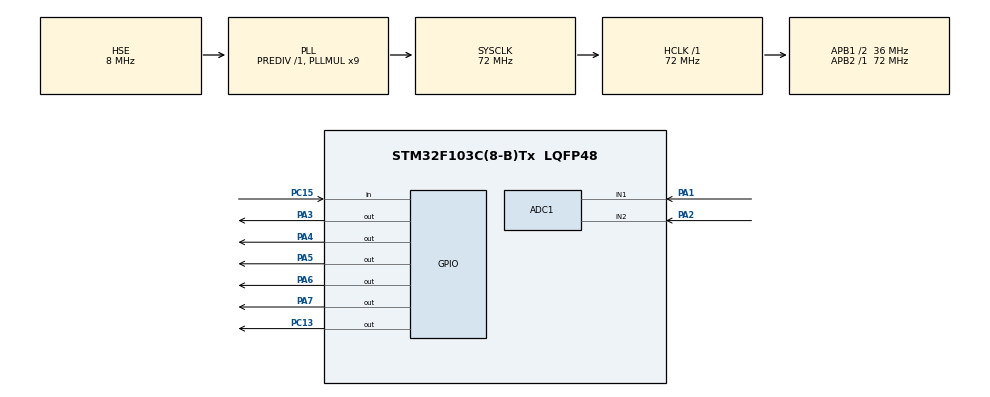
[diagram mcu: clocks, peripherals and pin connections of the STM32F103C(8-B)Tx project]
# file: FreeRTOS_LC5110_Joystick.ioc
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ADC1.Channel-5\#ChannelRegularConversion=ADC_CHANNEL_1
ADC1.Channel-6\#ChannelRegularConversion=ADC_CHANNEL_2
ADC1.ContinuousConvMode=ENABLE
ADC1.NbrOfConversion=2
ADC1.NbrOfConversionFlag=1
ADC1.Rank-5\#ChannelRegularConversion=1
ADC1.Rank-6\#ChannelRegularConversion=2
ADC1.SamplingTime-5\#ChannelRegularConversion=ADC_SAMPLETIME_239CYCLES_5
ADC1.SamplingTime-6\#ChannelRegularConversion=ADC_SAMPLETIME_239CYCLES_5
ADC1.master=1
Dma.ADC1.0.Direction=DMA_PERIPH_TO_MEMORY
Dma.ADC1.0.Instance=DMA1_Channel1
Dma.ADC1.0.MemDataAlignment=DMA_MDATAALIGN_WORD
Dma.ADC1.0.MemInc=DMA_MINC_ENABLE
Dma.ADC1.0.Mode=DMA_CIRCULAR
Dma.ADC1.0.PeriphDataAlignment=DMA_PDATAALIGN_WORD
Dma.ADC1.0.PeriphInc=DMA_PINC_DISABLE
Dma.ADC1.0.Priority=DMA_PRIORITY_LOW
Dma.Request0=ADC1
FREERTOS.Tasks01=defaultTask,0,128,StartDefaultTask,Default,NULL
FREERTOS.configMAX_TASK_NAME_LEN=30
Mcu.Family=STM32F1
Mcu.Name=STM32F103C(8-B)Tx
Mcu.Package=LQFP48
NVIC.ADC1_2_IRQn=true\:5\:0\:false\:false\:true\:true\:true
NVIC.DMA1_Channel1_IRQn=true\:5\:0\:false\:false\:true\:true\:false
NVIC.PriorityGroup=NVIC_PRIORITYGROUP_4
NVIC.TIM4_IRQn=true\:0\:0\:false\:false\:true\:false\:false
NVIC.TimeBase=TIM4_IRQn
NVIC.TimeBaseIP=TIM4
PA1.Signal=ADCx_IN1
PA13.Mode=Serial_Wire
PA13.Signal=SYS_JTMS-SWDIO
PA14.Mode=Serial_Wire
PA14.Signal=SYS_JTCK-SWCLK
PA2.Signal=ADCx_IN2
PA3.Signal=GPIO_Output
PA4.Signal=GPIO_Output
PA5.Signal=GPIO_Output
PA6.Signal=GPIO_Output
PA7.Signal=GPIO_Output
PC13-TAMPER-RTC.Signal=GPIO_Output
PC15-OSC32_OUT.GPIO_PuPd=GPIO_PULLUP
PC15-OSC32_OUT.Signal=GPIO_Input
PD0-OSC_IN.Mode=HSE-External-Oscillator
PD0-OSC_IN.Signal=RCC_OSC_IN
PD1-OSC_OUT.Mode=HSE-External-Oscillator
PD1-OSC_OUT.Signal=RCC_OSC_OUT
ProjectManager.HeapSize=0x200
ProjectManager.StackSize=0x400
ProjectManager.TargetToolchain=TrueSTUDIO
RCC.ADCPresc=RCC_ADCPCLK2_DIV6
RCC.AHBFreq_Value=72000000
RCC.APB1CLKDivider=RCC_HCLK_DIV2
RCC.APB1Freq_Value=36000000
RCC.APB1TimFreq_Value=72000000
RCC.APB2Freq_Value=72000000
RCC.APB2TimFreq_Value=72000000
RCC.HCLKFreq_Value=72000000
RCC.PLLMUL=RCC_PLL_MUL9
RCC.PLLSourceVirtual=RCC_PLLSOURCE_HSE
RCC.SYSCLKFreq_VALUE=72000000
RCC.SYSCLKSource=RCC_SYSCLKSOURCE_PLLCLK
RCC.USBFreq_Value=72000000
SH.ADCx_IN1.0=ADC1_IN1,IN1
SH.ADCx_IN2.0=ADC1_IN2,IN2
VP_FREERTOS_VS_ENABLE.Mode=Enabled
VP_SYS_VS_tim4.Mode=TIM4
board=FreeRTOS_LC5110_Joystick

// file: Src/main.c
#include "main.h"
#include "stm32f1xx_hal.h"
#include "cmsis_os.h"

/* USER CODE BEGIN Includes */
#include "atraso.h"
#include "defPrincipais.h"
#include "NOKIA5110_fb.h"
#include "figuras.h"
#include "PRNG_LFSR.h"
#include "happy_bird.h"

#define ADC_X valor_ADC[0]
#define ADC_Y valor_ADC[1]

#define IS_JOYSTICK_PUSHED() (!HAL_GPIO_ReadPin(GPIOC, GPIO_PIN_15))

/* USER CODE END Includes */

ADC_HandleTypeDef hadc1;
DMA_HandleTypeDef hdma_adc1;

//osThreadId defaultTaskHandle;

/* USER CODE BEGIN PV */
/* Private variables ---------------------------------------------------------*/
uint32_t ADC_buffer[2];
uint32_t valor_ADC[2];
TaskHandle_t taskHandlerJoystick;
/* USER CODE END PV */

void SystemClock_Config(void);
static void MX_GPIO_Init(void);
static void MX_DMA_Init(void);
static void MX_ADC1_Init(void);
//void StartDefaultTask(void const * argument);

/* USER CODE BEGIN PFP */
/* Private function prototypes -----------------------------------------------*/
/* USER CODE END PFP */

/* USER CODE BEGIN 0 */

void HAL_ADC_ConvCpltCallback(ADC_HandleTypeDef *hadc)
{
	if(hadc->Instance == ADC1)
	{
		valor_ADC[0]=ADC_buffer[0];
		valor_ADC[1]=ADC_buffer[1];
	}
}

// Tarefa para atualizar periodicamente o LCD
void vTask_LCD_Print(void *pvParameters)
{
	while(1) imprime_LCD();
}

/* read adc (joystick) and translate to position of the bird
 *
 * the draw of the bird should be independent (one task for it)
 * because we need to slow the movement of the joystick (ADC) by
 * delay
 * */

void vTask_bird(void *pvParameters)
{

	unsigned char moved = FALSE;

	while (1)
	{
		switch (hb_fsm) {
		case PLAYING:

			// first erase bird
			apaga_fig(&hb_bird_pts, bird);

			// X AXIS
			if (ADC_X < LOWER_BOUND && hb_bird_pts.x1 > 0) {
				hb_bird_pts.x1 -= hb_control.bird_step;
				moved = TRUE;
			}
			else if (ADC_X > UPPER_BOUND && hb_bird_pts.x1 < (MAX_X - bird->largura)) {
				hb_bird_pts.x1 += hb_control.bird_step;
				moved = TRUE;
			}

			// Y AXIS
			if (ADC_Y < LOWER_BOUND && hb_bird_pts.y1 > 0) {
				hb_bird_pts.y1 -= hb_control.bird_step;
				moved = TRUE;
			}
			else if (ADC_Y > UPPER_BOUND && hb_bird_pts.y1 < (MAX_Y - bird->altura)) {
				hb_bird_pts.y1 += hb_control.bird_step;
				moved = TRUE;
			}

			// draw bird
			desenha_fig(&hb_bird_pts, bird);

			if (moved) {
				vTaskDelay(50 / portTICK_RATE_MS);
			}
			else {
				vTaskDelay(16 / portTICK_RATE_MS);
			}

			break;

		case STARTING:
		case GAME_OVER:

			vTaskDelay(16 / portTICK_RATE_MS);
			break;

		}

	}
}

void vTask_game(void *pvParameters)
{
	uint32_t y_rand;
	uint32_t semente_PRNG=1;

	while (1)
	{
		switch (hb_fsm) {
		case STARTING:

			limpa_LCD();
			goto_XY(0, 0);
			string_LCD("Welcome to Happy Bird Game! Press the button to start.");

			while (!IS_JOYSTICK_PUSHED())
			{
				semente_PRNG++;		// semente para o gerador de n�meros pseudoaleatorios
									// pode ser empregado o ADC lendo uma entrada flutuante para gerar a semente.
			}

			init_LFSR(semente_PRNG);	// inicializacao para geracao de numeros pseudoaleatorios
			//rand_prng = prng_LFSR();	// sempre q a funcao prng() for chamada um novo nr � gerado.

			limpa_LCD();
			escreve2fb((unsigned char *)hb_opening);
			vTaskDelay(1000 / portTICK_RATE_MS);
			limpa_LCD();

			// initial positions

			y_rand = get_rand_y_obstacle();

			hb_control.row = 0;
			hb_control.obstacle_step = 1;
			hb_control.bird_step = 1;
			hb_control.gems_collected = 0;

			hb_obstacle_pts.x1 = MAX_X;
			obstacle_upper.x1 = hb_obstacle_pts.x1;
			obstacle_upper.x2 = hb_obstacle_pts.x1 + obstacle->largura;
			obstacle_upper.y1 = 0;
			obstacle_upper.y2 = y_rand;
			obstacle_lower.x1 = hb_obstacle_pts.x1;
			obstacle_lower.x2 = obstacle_upper.x2;
			obstacle_lower.y1 = y_rand + 1.5 * bird->altura;
			obstacle_lower.y2 = MAX_Y;

			hb_bird_pts.x1 = (MAX_X >> 1) - bird->largura;
			hb_bird_pts.y1 = (MAX_Y >> 1) - bird->altura;
			hb_bird_pts.x2 = 0;
			hb_bird_pts.y2 = 0;

			gem_pts.x1 = get_rand_x_gem();
			gem_pts.y1 = get_rand_y_gem();

			hb_fsm = PLAYING;

			break;

		case PLAYING:
			escreve_Nr_Peq(0, 0, hb_control.gems_collected, 0);

			// erase first obstacle (upper)
			apaga_fig(&obstacle_upper, obstacle);
			//apaga_retangulo_preenchido(&obstacle_upper);

			// erase second obstacle (lower)
			apaga_fig(&obstacle_lower, obstacle);
			//apaga_retangulo_preenchido(&obstacle_lower);

			// if obstacle reached left screen border
			if (hb_obstacle_pts.x1 <= 0) {
				hb_obstacle_pts.x1 = MAX_X;
				y_rand = get_rand_y_obstacle();
			}
			else {
				// keep moving
				hb_obstacle_pts.x1 -= hb_control.obstacle_step;
				// check overflow
				if (hb_obstacle_pts.x1 > (2 * MAX_X))
					hb_obstacle_pts.x1 = 0;
			}

			// first obstacle (upper)
			obstacle_upper.x1 = hb_obstacle_pts.x1;
			obstacle_upper.x2 = hb_obstacle_pts.x1 + obstacle->largura;
			obstacle_upper.y1 = 0;
			obstacle_upper.y2 = y_rand;
			desenha_fig(&obstacle_upper, obstacle);
			// second part (lower)
			obstacle_lower.x1 = hb_obstacle_pts.x1;
			obstacle_lower.x2 = obstacle_upper.x2;
			obstacle_lower.y1 = y_rand + 1.5 * bird->altura;
			obstacle_lower.y2 = MAX_Y;
			desenha_fig(&obstacle_lower, obstacle);

			desenha_fig(&gem_pts, gem);

			break;

		case GAME_OVER:
			limpa_LCD();
			goto_XY(0, 1);
			string_LCD("Game Over");
			goto_XY(0,2);

			uint32_t dec;
			if ((hb_control.gems_collected / 10) == 0)
				dec = 1;
			else if ((hb_control.gems_collected / 100) == 0)
				dec = 2;
			else
				dec = 3;

			string_LCD_Nr("Points: ", hb_control.gems_collected, dec);
			goto_XY(0,3);
			string_LCD("Play again?");
			goto_XY(0, 4);

			if (ADC_X > UPPER_BOUND)
				hb_control.play_again = false;
			else if (ADC_X < LOWER_BOUND)
				hb_control.play_again = true;

			if (hb_control.play_again)
				string_LCD("*YES* <->  no ");
			else
				string_LCD(" yes  <-> *NO*");

			if (IS_JOYSTICK_PUSHED()) {

				if (hb_control.play_again) {

					hb_fsm = STARTING;
				}
				else {
					limpa_LCD();
					goto_XY(0, 0);
					string_LCD("Bye Bye!");
					vTaskDelete(NULL); // itself
				}
			}

			break;

		}

		vTaskDelay(100 / portTICK_RATE_MS);
	}
}

void vTask_overlap(void *pvParameters)
{
	while (1) {
		switch (hb_fsm) {
		case PLAYING:

			// check if bird overlaps obstacles
			if (overlaps(&hb_bird_pts, bird, &obstacle_upper, obstacle) ||
				overlaps(&hb_bird_pts, bird, &obstacle_lower, obstacle)) {
				hb_fsm = GAME_OVER;
				break;
			}
			// check if bird overlaps gem
			else if (overlaps(&hb_bird_pts, bird, &gem_pts, gem)) {
				hb_control.gems_collected++;
				hb_control.row++;
				if (hb_control.row >= 5) {
					hb_control.row = 0;
					//hb_control.bird_step++;
					hb_control.obstacle_step++;
				}
				apaga_fig(&gem_pts, gem); // erase gem
				// new gem
				do {
					gem_pts.x1 = get_rand_x_gem();
					gem_pts.y1 = get_rand_y_gem();
				} while (overlaps(&gem_pts, gem, &obstacle_upper, obstacle) ||
						 overlaps(&gem_pts, gem, &obstacle_lower, obstacle) ||
						 overlaps(&gem_pts, gem, &hb_bird_pts, bird));
				desenha_fig(&gem_pts, gem);
			}

			// if obstacle overlaps gem
			while (overlaps(&gem_pts, gem, &obstacle_upper, obstacle) ||
				   overlaps(&gem_pts, gem, &obstacle_lower, obstacle)) {
				apaga_fig(&gem_pts, gem); // erase gem
				// new gem
				do {
					gem_pts.x1 = get_rand_x_gem();
					gem_pts.y1 = get_rand_y_gem();
				} while (overlaps(&gem_pts, gem, &obstacle_upper, obstacle) ||
						 overlaps(&gem_pts, gem, &obstacle_lower, obstacle) ||
						 overlaps(&gem_pts, gem, &hb_bird_pts, bird));
				desenha_fig(&gem_pts, gem);
			}

			break;

		case STARTING:
		case GAME_OVER:

			break;
		}

		vTaskDelay(10 / portTICK_RATE_MS);
	}
}
//---------------------------------------------------------------------------------------------------
/* USER CODE END 0 */

int main(void)
{

  /* MCU Configuration----------------------------------------------------------*/

  /* Reset of all peripherals, Initializes the Flash interface and the Systick. */
  HAL_Init();

  /* Configure the system clock */
  SystemClock_Config();

	/* Initialize all configured peripherals */
	MX_GPIO_Init();
	MX_DMA_Init();
	MX_ADC1_Init();

	/* USER CODE BEGIN 2 */

	HAL_ADC_Start_DMA(&hadc1,(uint32_t*)ADC_buffer,2);
	HAL_ADC_Start_IT(&hadc1);

	// inicializa LCD 5110
	inic_LCD();
	limpa_LCD();

	/* USER CODE END 2 */

	/* Create the thread(s) */
	/* definition and creation of defaultTask */
	// osThreadDef(defaultTask, StartDefaultTask, osPriorityNormal, 0, 128);
	// defaultTaskHandle = osThreadCreate(osThread(defaultTask), NULL);

	/* USER CODE BEGIN RTOS_THREADS */
	xTaskCreate(vTask_LCD_Print, "Task 1", 100, NULL, 1, NULL);
	xTaskCreate(vTask_bird, "vTask_bird", 100, NULL, 1, &taskHandlerJoystick);
	xTaskCreate(vTask_game, "Game", 100, NULL, 1, NULL);
	xTaskCreate(vTask_overlap, "Overlap", 100, NULL, 1, NULL);
	/* USER CODE END RTOS_THREADS */

	/* Start scheduler */
	// osKernelStart();
	vTaskStartScheduler();	// apos este comando o RTOS passa a executar as tarefas

  /* We should never get here as control is now taken by the scheduler */

  /* Infinite loop */
  while (1)
  {

  }

}

void SystemClock_Config(void)
{

  RCC_OscInitTypeDef RCC_OscInitStruct;
  RCC_ClkInitTypeDef RCC_ClkInitStruct;
  RCC_PeriphCLKInitTypeDef PeriphClkInit;

    /**Initializes the CPU, AHB and APB busses clocks
    */
  RCC_OscInitStruct.OscillatorType = RCC_OSCILLATORTYPE_HSE;
  RCC_OscInitStruct.HSEState = RCC_HSE_ON;
  RCC_OscInitStruct.HSEPredivValue = RCC_HSE_PREDIV_DIV1;
  RCC_OscInitStruct.HSIState = RCC_HSI_ON;
  RCC_OscInitStruct.PLL.PLLState = RCC_PLL_ON;
  RCC_OscInitStruct.PLL.PLLSource = RCC_PLLSOURCE_HSE;
  RCC_OscInitStruct.PLL.PLLMUL = RCC_PLL_MUL9;
  if (HAL_RCC_OscConfig(&RCC_OscInitStruct) != HAL_OK)
  {
    _Error_Handler(__FILE__, __LINE__);
  }

    /**Initializes the CPU, AHB and APB busses clocks
    */
  RCC_ClkInitStruct.ClockType = RCC_CLOCKTYPE_HCLK|RCC_CLOCKTYPE_SYSCLK
                              |RCC_CLOCKTYPE_PCLK1|RCC_CLOCKTYPE_PCLK2;
  RCC_ClkInitStruct.SYSCLKSource = RCC_SYSCLKSOURCE_PLLCLK;
  RCC_ClkInitStruct.AHBCLKDivider = RCC_SYSCLK_DIV1;
  RCC_ClkInitStruct.APB1CLKDivider = RCC_HCLK_DIV2;
  RCC_ClkInitStruct.APB2CLKDivider = RCC_HCLK_DIV1;

  if (HAL_RCC_ClockConfig(&RCC_ClkInitStruct, FLASH_LATENCY_2) != HAL_OK)
  {
    _Error_Handler(__FILE__, __LINE__);
  }

  PeriphClkInit.PeriphClockSelection = RCC_PERIPHCLK_ADC;
  PeriphClkInit.AdcClockSelection = RCC_ADCPCLK2_DIV6;
  if (HAL_RCCEx_PeriphCLKConfig(&PeriphClkInit) != HAL_OK)
  {
    _Error_Handler(__FILE__, __LINE__);
  }

    /**Configure the Systick interrupt time
    */
  HAL_SYSTICK_Config(HAL_RCC_GetHCLKFreq()/1000);

    /**Configure the Systick
    */
  HAL_SYSTICK_CLKSourceConfig(SYSTICK_CLKSOURCE_HCLK);

  /* SysTick_IRQn interrupt configuration */
  HAL_NVIC_SetPriority(SysTick_IRQn, 15, 0);
}

/* ADC1 init function */
static void MX_ADC1_Init(void)
{

  ADC_ChannelConfTypeDef sConfig;

    /**Common config
    */
  hadc1.Instance = ADC1;
  hadc1.Init.ScanConvMode = ADC_SCAN_ENABLE;
  hadc1.Init.ContinuousConvMode = ENABLE;
  hadc1.Init.DiscontinuousConvMode = DISABLE;
  hadc1.Init.ExternalTrigConv = ADC_SOFTWARE_START;
  hadc1.Init.DataAlign = ADC_DATAALIGN_RIGHT;
  hadc1.Init.NbrOfConversion = 2;
  if (HAL_ADC_Init(&hadc1) != HAL_OK)
  {
    _Error_Handler(__FILE__, __LINE__);
  }

    /**Configure Regular Channel
    */
  sConfig.Channel = ADC_CHANNEL_1;
  sConfig.Rank = ADC_REGULAR_RANK_1;
  sConfig.SamplingTime = ADC_SAMPLETIME_239CYCLES_5;
  if (HAL_ADC_ConfigChannel(&hadc1, &sConfig) != HAL_OK)
  {
    _Error_Handler(__FILE__, __LINE__);
  }

    /**Configure Regular Channel
    */
  sConfig.Channel = ADC_CHANNEL_2;
  sConfig.Rank = ADC_REGULAR_RANK_2;
  if (HAL_ADC_ConfigChannel(&hadc1, &sConfig) != HAL_OK)
  {
    _Error_Handler(__FILE__, __LINE__);
  }

}

static void MX_DMA_Init(void)
{
  /* DMA controller clock enable */
  __HAL_RCC_DMA1_CLK_ENABLE();

  /* DMA interrupt init */
  /* DMA1_Channel1_IRQn interrupt configuration */
  HAL_NVIC_SetPriority(DMA1_Channel1_IRQn, 5, 0);
  HAL_NVIC_EnableIRQ(DMA1_Channel1_IRQn);

}

/** Configure pins as
        * Analog
        * Input
        * Output
        * EVENT_OUT
        * EXTI
*/
static void MX_GPIO_Init(void)
{

  GPIO_InitTypeDef GPIO_InitStruct;

  /* GPIO Ports Clock Enable */
  __HAL_RCC_GPIOC_CLK_ENABLE();
  __HAL_RCC_GPIOD_CLK_ENABLE();
  __HAL_RCC_GPIOA_CLK_ENABLE();

  /*Configure GPIO pin Output Level */
  HAL_GPIO_WritePin(GPIOC, GPIO_PIN_13, GPIO_PIN_RESET);

  /*Configure GPIO pin Output Level */
  HAL_GPIO_WritePin(GPIOA, GPIO_PIN_3|GPIO_PIN_4|GPIO_PIN_5|GPIO_PIN_6
                          |GPIO_PIN_7, GPIO_PIN_RESET);

  /*Configure GPIO pin : PC13 */
  GPIO_InitStruct.Pin = GPIO_PIN_13;
  GPIO_InitStruct.Mode = GPIO_MODE_OUTPUT_PP;
  GPIO_InitStruct.Speed = GPIO_SPEED_FREQ_LOW;
  HAL_GPIO_Init(GPIOC, &GPIO_InitStruct);

  /*Configure GPIO pin : PC15 */
  GPIO_InitStruct.Pin = GPIO_PIN_15;
  GPIO_InitStruct.Mode = GPIO_MODE_INPUT;
  GPIO_InitStruct.Pull = GPIO_PULLUP;
  HAL_GPIO_Init(GPIOC, &GPIO_InitStruct);

  /*Configure GPIO pins : PA3 PA4 PA5 PA6
                           PA7 */
  GPIO_InitStruct.Pin = GPIO_PIN_3|GPIO_PIN_4|GPIO_PIN_5|GPIO_PIN_6
                          |GPIO_PIN_7;
  GPIO_InitStruct.Mode = GPIO_MODE_OUTPUT_PP;
  GPIO_InitStruct.Speed = GPIO_SPEED_FREQ_LOW;
  HAL_GPIO_Init(GPIOA, &GPIO_InitStruct);

}

/* StartDefaultTask function */
//void StartDefaultTask(void const * argument)
//{

  /* USER CODE BEGIN 5 */
  /* Infinite loop */
//  for(;;)
//  {
//    osDelay(1);
//  }
  /* USER CODE END 5 */
//}

void HAL_TIM_PeriodElapsedCallback(TIM_HandleTypeDef *htim)
{
  if (htim->Instance == TIM4) {
    HAL_IncTick();
  }
}

void _Error_Handler(char *file, int line)
{
  while(1)
  {
  }
}

/************************ (C) COPYRIGHT STMicroelectronics *****END OF FILE****/
